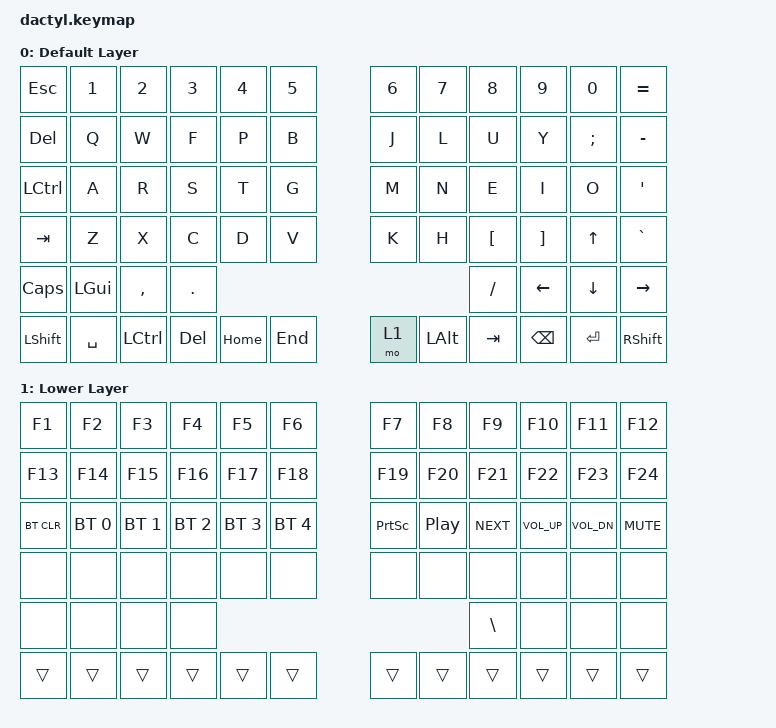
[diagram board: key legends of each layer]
/*
 * Copyright (c) 2020 The ZMK Contributors
 *
 * SPDX-License-Identifier: MIT
 */

#include <behaviors.dtsi>
#include <dt-bindings/zmk/keys.h>
#include <dt-bindings/zmk/bt.h>

/ {
    keymap {
        compatible = "zmk,keymap";

        default_layer {
            display-name = "Default Layer";
// -----------------------------------------------------------------------------------------
// |  ESC |  1  |  2  |  3  |  4  |  5   |                   |   6   |   7  |   8   |  9    |  0    | +=   |
// |  DEL |  Q  |  W  |  F  |  P  |  B   |                   |   J   |   L  |   U   |  Y    |  :;   |  -_  | 
// | CTRL |  A  |  R  |  S  |  T  |  G   |                   |   M   |   N  |   E   |  I    |  O    |  '"  | 
// |  TAB |  Z  |  X  |  C  |  D  |  V   |                   |   K   |   H  |   [{  | }]    |  UP   |  `~  | 
// | CAPS | GUI |  <, |  >. |-----|------|                   |-------|------|   ?/  | LFT   | DWN   | RGT  | 
// | SHFT | SPC | CTRL| DEL | HOME| END  |                   | RSHFT | ENTR | BKSP  | TAB   | ALT   | mo1  | 

                        bindings = <
   &kp ESC   &kp N1    &kp N2    &kp N3     &kp N4 &kp N5                   &kp N6  &kp N7    &kp N8     &kp N9    &kp N0    &kp EQUAL 
   &kp DEL   &kp Q     &kp W     &kp F      &kp P  &kp B                    &kp J   &kp L     &kp U      &kp Y     &kp SEMI  &kp MINUS 
   &kp LCTRL &kp A     &kp R     &kp S      &kp T  &kp G                    &kp M   &kp N     &kp E      &kp I     &kp O     &kp SQT   
   &kp TAB   &kp Z     &kp X     &kp C      &kp D  &kp V                    &kp K   &kp H     &kp LBKT   &kp RBKT  &kp UP    &kp GRAVE 
   &kp CAPS  &kp LGUI  &kp COMMA &kp PERIOD                                                   &kp FSLH   &kp LEFT  &kp DOWN  &kp RIGHT 
   &kp LSHFT &kp SPACE &kp LCTRL &kp DEL    &kp HOME &kp END                &mo 1   &kp LALT  &kp TAB    &kp BSPC  &kp RET   &kp RSHIFT
                        >;
                };
                lower_layer {
                        display-name = "Lower Layer";
// -----------------------------------------------------------------------------------------
// |  F1  |  F2 |  F3 |  F4 |  F5 |  F6 | TRANSP |        | TRANSP |  F7 |  F8 |  F9 | F10 | F11 |  F12 |
// |  F13 | F14 | F15 | F16 | F17 | F18 | TRANSP |        | TRANSP | F19 | F20 | F21 | F22 | F23 |  F24 |
// | BTCLR| BT1 | BT2 | BT3 | BT4 | BT5 | TRANSP |        | TRANSP |PSCRN|PLYPS|NEXT |VOLUP|VOLDN|CMUTE |
// |------|-----|-----|-----|-----|-----| TRANSP |        | TRANSP |-----|-----|-----|-----|-----|------|
// |------|-----|-----|-----|-----|-----| TRANSP |        | TRANSP |-----|-----|  \| |-----|-----|------|
// |------|-----|-----|-----|-----| END | TRANSP |        | TRANSP |-----|-----|-----|-----|-----|------|
                        bindings = <
   &kp F1     &kp F2       &kp F3       &kp F4       &kp F5       &kp F6                 &kp F7    &kp F8   &kp F9      &kp F10      &kp F11      &kp F12    
   &kp F13    &kp F14      &kp F15      &kp F16      &kp F17      &kp F18                &kp F19   &kp F20  &kp F21     &kp F22      &kp F23      &kp F24     
   &bt BT_CLR &bt BT_SEL 0 &bt BT_SEL 1 &bt BT_SEL 2 &bt BT_SEL 3 &bt BT_SEL 4           &kp PSCRN &kp C_PP &kp C_NEXT  &kp C_VOL_UP &kp C_VOL_DN &kp C_MUTE 
   &none      &none        &none        &none        &none        &none                  &none     &none    &none       &none        &none        &none       
   &none      &none        &none        &none                                                               &kp BSLH    &none        &none        &none      
   &trans     &trans       &trans       &trans       &trans       &trans                 &trans    &trans   &trans      &trans       &trans       &trans
                        >;
                };
        };
};
